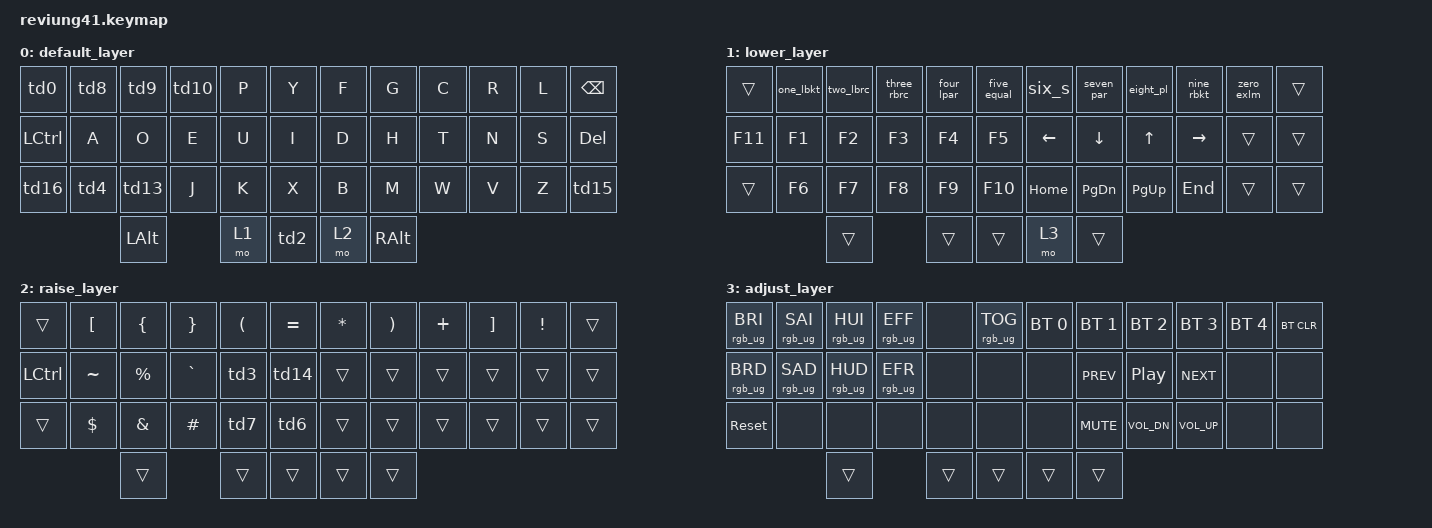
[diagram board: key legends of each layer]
/*
 * Copyright (c) 2020 The ZMK Contributors
 *
 * SPDX-License-Identifier: MIT
 */

#include <behaviors.dtsi>
#include <dt-bindings/zmk/keys.h>
#include <dt-bindings/zmk/bt.h>
#include <dt-bindings/zmk/rgb.h>


// TAP Dance macros taken from
// https://github.com/perryfranks/zmk_corne_prog_dvorak/blob/master/config/corne.keymap
// 
#define TD_TAB      &td0    // TAB ESC
#define TD_CAPLOCK  &td1    // LSHIFT CAPSLOCK 
#define TD_SPC      &td2    // SPACE ENTER 
#define TD_SLSH     &td3    // SLASH QMARK
#define TD_QUOTE    &td4    // QUOTE DOUBLE_QUOTES
#define TD_EQL      &td5    // EQUAL PLUS
#define TD_BSLS     &td6    // BACKSLASH PIPE 
#define TD_MINUS    &td7    // MINUS UNDERSCORE
#define TD_SCLN     &td8    // SEMICOLON COLON 
#define TD_COMM     &td9    // COMMA LESS_THAN 
#define TD_DOT      &td10   // PERIOD GREATER_THAN 
#define TD_BACKF    &td11   // GRAVE TILDE
#define TD_ALT      &td12   // LALT GUI
#define TD_ARR      &td13   // Q AT (@)
#define TD_ATCAT    &td14   // AT CARET 
#define TD_TAW      &td15   // TAB LWIN
#define TD_SCLOCK   &td16   // (S)LSHIFT CAPSLOCK (Sticky shift)

#define BASE 0
#define NAV 1
#define SYM 2
#define BT 3

// TAP_DANCE settings
#define TAP_SPEED 200


/ {
behaviors {  
        td0: tap_dance_0 {
            compatible = "zmk,behavior-tap-dance";
            label = "TAP_DANCE_0"; 
            #binding-cells = <0>; 
            tapping-term-ms = <TAP_SPEED>; 
            bindings = <&kp TAB>, <&kp ESC>;

            }; 
        td1: tap_dance_1 {
            compatible = "zmk,behavior-tap-dance";
            label = "TAP_DANCE_1"; 
            #binding-cells = <0>; 
            tapping-term-ms = <TAP_SPEED>; 
            bindings = <&kp LSHIFT>, <&kp CAPSLOCK>;
            }; 
        td2: tap_dance_2 {
            compatible = "zmk,behavior-tap-dance";
            label = "TAP_DANCE_2"; 
            #binding-cells = <0>; 
            tapping-term-ms = <TAP_SPEED>; 
            bindings = <&kp SPACE>, <&kp ENTER>;
            }; 
        td3: tap_dance_3 {
            compatible = "zmk,behavior-tap-dance";
            label = "TAP_DANCE_3"; 
            #binding-cells = <0>; 
            tapping-term-ms = <TAP_SPEED>; 
            bindings = <&kp SLASH>, <&kp QMARK>;
            }; 
        td4: tap_dance_4 {
            compatible = "zmk,behavior-tap-dance";
            label = "TAP_DANCE_4"; 
            #binding-cells = <0>; 
            tapping-term-ms = <TAP_SPEED>; 
            bindings = <&kp SINGLE_QUOTE>, <&kp DOUBLE_QUOTES>;
            }; 
        td5: tap_dance_5 {
            compatible = "zmk,behavior-tap-dance";
            label = "TAP_DANCE_5"; 
            #binding-cells = <0>; 
            tapping-term-ms = <TAP_SPEED>; 
            bindings = <&kp EQUAL>, <&kp PLUS>;
            }; 
        td6: tap_dance_6 {
            compatible = "zmk,behavior-tap-dance";
            label = "TAP_DANCE_6"; 
            #binding-cells = <0>; 
            tapping-term-ms = <TAP_SPEED>; 
            bindings = <&kp BACKSLASH>, <&kp PIPE>;
            }; 
        td7: tap_dance_7 {
            compatible = "zmk,behavior-tap-dance";
            label = "TAP_DANCE_7"; 
            #binding-cells = <0>; 
            tapping-term-ms = <TAP_SPEED>; 
            bindings = <&kp MINUS>, <&kp UNDERSCORE>;
            }; 
        td8: tap_dance_8 {
            compatible = "zmk,behavior-tap-dance";
            label = "TAP_DANCE_8"; 
            #binding-cells = <0>; 
            tapping-term-ms = <TAP_SPEED>; 
            bindings = <&kp SEMICOLON>, <&kp COLON>;
            }; 
        td9: tap_dance_9 {
            compatible = "zmk,behavior-tap-dance";
            label = "TAP_DANCE_9"; 
            #binding-cells = <0>; 
            tapping-term-ms = <TAP_SPEED>; 
            bindings = <&kp COMMA>, <&kp LESS_THAN>;
            }; 
        td10: tap_dance_10 {
            compatible = "zmk,behavior-tap-dance";
            label = "TAP_DANCE_10"; 
            #binding-cells = <0>; 
            tapping-term-ms = <TAP_SPEED>; 
            bindings = <&kp PERIOD>, <&kp GREATER_THAN>;
            }; 
        td11: tap_dance_11 {
            compatible = "zmk,behavior-tap-dance";
            label = "TAP_DANCE_11"; 
            #binding-cells = <0>; 
            tapping-term-ms = <TAP_SPEED>; 
            bindings = <&kp GRAVE>, <&kp TILDE>;
            };            

        td12: tap_dance_12 {
            compatible = "zmk,behavior-tap-dance";
            label = "TAP_DANCE_12"; 
            #binding-cells = <0>; 
            tapping-term-ms = <TAP_SPEED>; 
            bindings = <&kp LALT>, <&kp GUI>;
            };
        td13: tap_dance_13 {
            compatible = "zmk,behavior-tap-dance";
            label = "TAP_DANCE_13"; 
            #binding-cells = <0>; 
            tapping-term-ms = <TAP_SPEED>; 
            bindings = <&kp Q>, <&kp AT>;
            };
        td14: tap_dance_14 {
            compatible = "zmk,behavior-tap-dance";
            label = "TAP_DANCE_14"; 
            #binding-cells = <0>; 
            tapping-term-ms = <TAP_SPEED>; 
            bindings = <&kp AT>, <&kp CARET>;
            };
        td15: tap_dance_15 {
            compatible = "zmk,behavior-tap-dance";
            label = "TAP_DANCE_15"; 
            #binding-cells = <0>; 
            tapping-term-ms = <TAP_SPEED>; 
            bindings = <&kp TAB>, <&kp LWIN>;
            };
        td16: tap_dance_16 {
            compatible = "zmk,behavior-tap-dance";
            label = "TAP_DANCE_16"; 
            #binding-cells = <0>; 
            tapping-term-ms = <TAP_SPEED>; 
            bindings = <&sk LSHIFT>, <&kp CAPSLOCK>;
            }; 

        // create the shifts of dvorak 
        one_lbkt: one_lbkt{ 
                compatible = "zmk,behavior-mod-morph";
                label="ONE_LBKT";
                #binding-cells = <0>;
                bindings = <&kp N1>, <&kp LBKT>;  
                mods=<(MOD_LSFT|MOD_RSFT)>;
            }; 
        two_lbrc: two_lbrc {
                compatible = "zmk,behavior-mod-morph";
                label="TWO_LBRC";
                #binding-cells = <0>; 
                bindings = <&kp N2>,<&kp LBRC>;
                mods=<(MOD_LSFT|MOD_RSFT)>;
        };
        three_rbrc: three_rbrc {
                compatible = "zmk,behavior-mod-morph";
                label="THREE_RBRC";
                #binding-cells = <0>; 
                bindings = <&kp N3>,<&kp RBRC>;
                mods=<(MOD_LSFT|MOD_RSFT)>;
        };
        four_lpar: four_lpar {
                compatible = "zmk,behavior-mod-morph";
                label="FOUR_LPAR";
                #binding-cells = <0>; 
                bindings = <&kp N4>,<&kp LPAR>;
                mods=<(MOD_LSFT|MOD_RSFT)>;
        };
        five_equal: five_equal {
                compatible = "zmk,behavior-mod-morph";
                label="FIVE_EQUAL";
                #binding-cells = <0>; 
                bindings = <&kp N5>,<&kp EQUAL>;
                mods=<(MOD_LSFT|MOD_RSFT)>;
        };
        six_s: six_star { 
                compatible = "zmk,behavior-mod-morph";
                label="SIX_STAR";
                #binding-cells = <0>;
                bindings = <&kp N6>, <&kp STAR>;  
                mods=<(MOD_LSFT|MOD_RSFT)>;
            }; 
        seven_par: seven_paren {
                compatible = "zmk,behavior-mod-morph";
                label="SEVEN_PAR";
                #binding-cells = <0>; 
                bindings = <&kp N7>,<&kp RPAR>;
                mods=<(MOD_LSFT|MOD_RSFT)>;
        };
        eight_pl: eight_plus {
                compatible = "zmk,behavior-mod-morph";
                label="EIGHT_PLUS";
                #binding-cells = <0>; 
                bindings = <&kp N8>,<&kp PLUS>;
                mods=<(MOD_LSFT|MOD_RSFT)>;
        };
        nine_rbkt: nine_rbkt {
                compatible = "zmk,behavior-mod-morph";
                label="NINE_RBKT";
                #binding-cells = <0>; 
                bindings = <&kp N9>,<&kp RBKT>;
                mods=<(MOD_LSFT|MOD_RSFT)>;
        };
        zero_exlm: zero_exlm {
                compatible = "zmk,behavior-mod-morph";
                label="ZERO_EXLM";
                #binding-cells = <0>; 
                bindings = <&kp N0>,<&kp EXCL>;
                mods=<(MOD_LSFT|MOD_RSFT)>;
        };
    };


        // LAYERS
        conditional_layers {
                compatible = "zmk,conditional-layers";
                tri_layer {
                if-layers = <1 2>;
                then-layer = <3>;
                };
        };


        keymap {
                compatible = "zmk,keymap";

                default_layer {
// -------------------------------------------------------------------------------------
// | TAB:ESC | ; : | , < | . > |  P  |  Y  |   |  F  |  G   |  C  |  R  |  L  |   BKSP    |
// | CTRL    | A   |  O  |  E  |  U  |  I  |   |  D  |  H   |  T  |  N  |  S  |    -      |
// | SHFT    | ' " | Q @ |  J  |  K  |  X  |   |  B  |  M   |  W  |  V  |  Z  | SHFT(RET) |
//                         | ALT | LWR | SPC | RSE  | ALT |
                        bindings = <
   TD_TAB    TD_SCLN  TD_COMM TD_DOT &kp P &kp Y   &kp F &kp G  &kp C &kp R &kp L &kp BSPC
   &kp LCTRL &kp A    &kp O   &kp E  &kp U &kp I   &kp D &kp H  &kp T &kp N &kp S &kp DEL
   TD_SCLOCK TD_QUOTE TD_ARR  &kp J  &kp K &kp X   &kp B &kp M  &kp W &kp V &kp Z TD_TAW
                        &kp LALT  &mo 1 TD_SPC &mo 2  &kp RALT
                        >;
                };

                lower_layer {
// --------------------------------------------------------------------------------
// | ESC   |  1   |  2  |  3  |  4  |  5  |    |  6  |  7  |  8  |  9  |  0  |      |
// | F11   |  F1  |  F2 |  F3 |  F4 |  F5 |    | LFT | DWN |  UP | RGT |     |      |
// | SHFT  |  F6  |  F7 |  F8 |  F9 |  F10|    |HOME | PGDN| PGUP| END |     |      |
//                           |     |     |      |     |     |
                        bindings = <
   &trans  &one_lbkt    &two_lbrc &three_rbrc &four_lpar &five_equal &six_s    &seven_par  &eight_pl &nine_rbkt &zero_exlm   &trans
   &kp F11 &kp F1       &kp F2     &kp F3      &kp F4    &kp F5      &kp LEFT  &kp DOWN    &kp UP    &kp RIGHT  &trans       &trans
   &trans  &kp F6       &kp F7     &kp F8      &kp F9    &kp F10     &kp HOME  &kp PG_DN   &kp PG_UP &kp END    &trans       &trans
                                 &trans      &trans      &trans     &mo 3       &trans
                        >;
                };

                raise_layer {
// -----------------------------------------------------------------------------------------
// |  ESC |  [  |  {  |  }  |  (  |  =  |     |  *  |  )  |  +  |  ]  |  !  | DEL  |
// | CTRL |  ~  |  %  |  `  | / ? | @ ^ |     |     |     |     |     |     |      |
// | SHFT |  $  |  &  |  #  | - _ | \ | |     |     |     |     |     |     |      |
//                    | GUI |     | SPC |     | ENT |     | ALT |
                        bindings = <
   &trans     &kp LBKT    &kp LBRC     &kp RBRC     &kp LPAR    &kp EQUAL       &kp STAR    &kp RPAR  &kp PLUS  &kp RBKT  &kp EXCL   &trans    
   &kp LCTRL  &kp TILDE   &kp PRCNT    &kp GRAVE    TD_SLSH     TD_ATCAT        &trans      &trans    &trans    &trans    &trans     &trans
   &trans     &kp DLLR    &kp AMPS     &kp HASH     TD_MINUS    TD_BSLS         &trans      &trans    &trans    &trans    &trans     &trans
                    	               &trans       &trans      &trans          &trans    &trans
                        >;
                };

                adjust_layer {
// -----------------------------------------------------------------------------------------
// | RGB BRI+ | RGB SAT+ | RGB HUE+ | RGB ANI+ |    | RGB TOG |   |  BT1  | BT2 | BT3 | BT4 | BT5 | BT CLR |
// | RGB BRI- | RGB SAT- | RGB HUE- | RGB ANI- |    |         |   |       | PRV | Play| NXT |     |        |
// |          |          |          |          |    |         |   |       | MUTE| VOL-| VOL+|     |        |
//                                              |     |     |     |       |     |
                        bindings = <
   &rgb_ug RGB_BRI &rgb_ug RGB_SAI &rgb_ug RGB_HUI &rgb_ug RGB_EFF &none &rgb_ug RGB_TOG    &bt BT_SEL 0 &bt BT_SEL 1 &bt BT_SEL 2 &bt BT_SEL 3 &bt BT_SEL 4 &bt BT_CLR
   &rgb_ug RGB_BRD &rgb_ug RGB_SAD &rgb_ug RGB_HUD &rgb_ug RGB_EFR &none &none              &none        &kp C_PREV   &kp C_PP     &kp C_NEXT        &none        &none
   &sys_reset      &none           &none           &none           &none &none              &none        &kp C_MUTE   &kp C_VOL_DN &kp C_VOL_UP      &none        &none
                                                             &trans      &trans       &trans        &trans      &trans
                        >;
                };
        };
};
